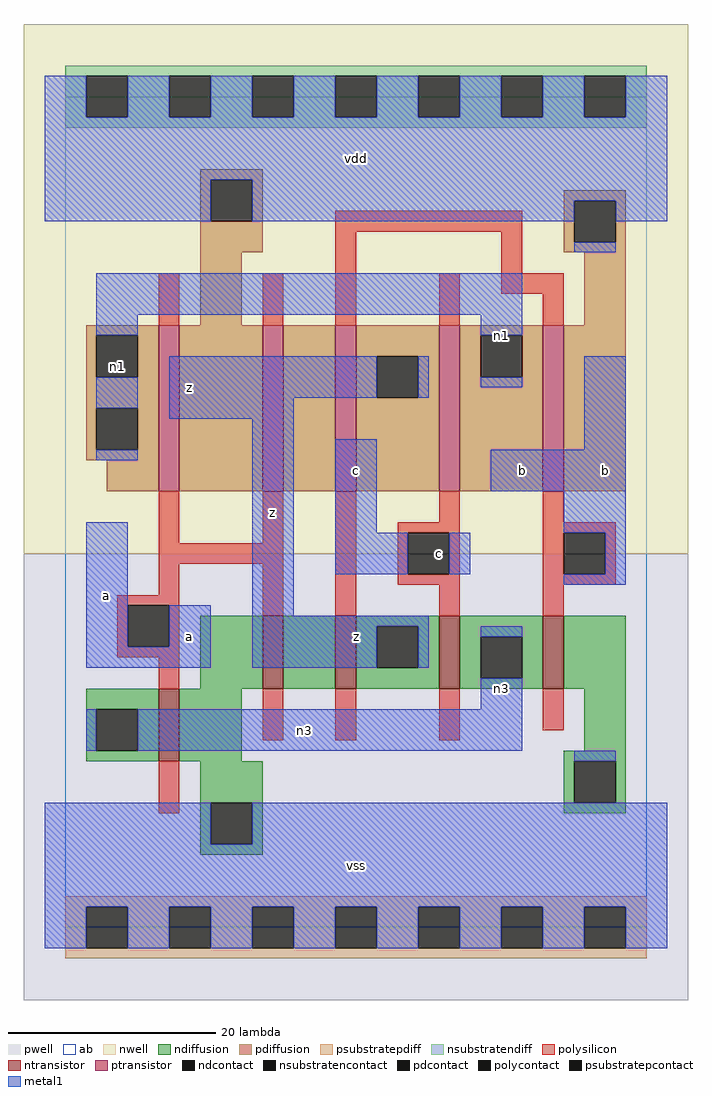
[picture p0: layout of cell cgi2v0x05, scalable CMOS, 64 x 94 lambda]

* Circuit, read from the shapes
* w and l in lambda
.subckt cgi2v0x05 a b c n1 n3 vdd vss z
M1 vss a n3 vss nfet w=7 l=2
M2 n2 a vss vss nfet w=7 l=2
M3 z b n2 vss nfet w=7 l=2
M4 n3 c z vss nfet w=7 l=2
M5 vss b n3 vss nfet w=7 l=2
M6 vdd a n1 vdd pfet w=16 l=2
M7 n4 a vdd vdd pfet w=16 l=2
M8 z b n4 vdd pfet w=16 l=2
M9 n1 c z vdd pfet w=16 l=2
M10 vdd b n1 vdd pfet w=16 l=2
.ends

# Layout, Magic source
magic
tech scmos
<< ab >>
rect 0 0 56 80
<< pwell >>
rect -4 -7 60 36
<< nwell >>
rect -4 36 60 87
<< polysilicon >>
rect 26 67 44 69
rect 9 58 11 63
rect 19 58 21 63
rect 26 58 28 67
rect 42 63 44 67
rect 36 58 38 63
rect 42 61 48 63
rect 46 58 48 61
rect 9 37 11 42
rect 19 37 21 42
rect 9 35 21 37
rect 9 32 11 35
rect 5 31 11 32
rect 5 27 6 31
rect 10 27 11 31
rect 19 30 21 35
rect 26 30 28 42
rect 36 39 38 42
rect 32 38 38 39
rect 32 34 33 38
rect 37 34 38 38
rect 32 33 38 34
rect 36 30 38 33
rect 46 39 48 42
rect 46 38 53 39
rect 46 34 48 38
rect 52 34 53 38
rect 46 33 53 34
rect 46 30 48 33
rect 5 26 11 27
rect 9 23 11 26
rect 19 18 21 23
rect 26 18 28 23
rect 36 18 38 23
rect 46 19 48 23
rect 9 11 11 16
<< ndiffusion >>
rect 13 23 19 30
rect 21 23 26 30
rect 28 29 36 30
rect 28 25 30 29
rect 34 25 36 29
rect 28 23 36 25
rect 38 28 46 30
rect 38 24 40 28
rect 44 24 46 28
rect 38 23 46 24
rect 48 23 54 30
rect 2 21 9 23
rect 2 17 3 21
rect 7 17 9 21
rect 2 16 9 17
rect 11 16 17 23
rect 50 17 54 23
rect 48 16 54 17
rect 13 12 19 16
rect 13 8 14 12
rect 18 8 19 12
rect 48 12 49 16
rect 53 12 54 16
rect 48 11 54 12
rect 13 7 19 8
<< pdiffusion >>
rect 13 72 19 73
rect 13 68 14 72
rect 18 68 19 72
rect 48 70 54 71
rect 13 65 19 68
rect 13 58 17 65
rect 48 66 49 70
rect 53 66 54 70
rect 48 65 54 66
rect 50 58 54 65
rect 2 57 9 58
rect 2 53 3 57
rect 7 53 9 57
rect 2 50 9 53
rect 2 46 3 50
rect 7 46 9 50
rect 2 45 9 46
rect 4 42 9 45
rect 11 42 19 58
rect 21 42 26 58
rect 28 55 36 58
rect 28 51 30 55
rect 34 51 36 55
rect 28 42 36 51
rect 38 57 46 58
rect 38 53 40 57
rect 44 53 46 57
rect 38 42 46 53
rect 48 42 54 58
<< metal1 >>
rect -2 78 2 82
rect 6 78 10 82
rect 14 78 18 82
rect 22 78 26 82
rect 30 78 34 82
rect 38 78 42 82
rect 46 78 50 82
rect 54 78 58 82
rect -2 72 58 78
rect -2 68 14 72
rect 18 70 58 72
rect 18 68 49 70
rect 53 68 58 70
rect 49 65 53 66
rect 3 59 44 63
rect 3 57 7 59
rect 40 57 44 59
rect 3 50 7 53
rect 10 51 30 55
rect 34 51 35 55
rect 40 52 44 53
rect 10 49 22 51
rect 3 45 7 46
rect 2 27 6 39
rect 10 27 14 31
rect 2 25 14 27
rect 18 30 22 49
rect 26 38 30 47
rect 50 46 54 55
rect 41 42 54 46
rect 48 38 54 42
rect 26 34 33 38
rect 37 34 39 38
rect 52 34 54 38
rect 48 33 54 34
rect 18 29 35 30
rect 18 25 30 29
rect 34 25 35 29
rect 40 28 44 29
rect 40 21 44 24
rect 2 17 3 21
rect 7 17 44 21
rect 49 16 53 17
rect -2 8 14 12
rect 18 8 58 12
rect -2 2 58 8
rect -2 -2 2 2
rect 6 -2 10 2
rect 14 -2 18 2
rect 22 -2 26 2
rect 30 -2 34 2
rect 38 -2 42 2
rect 46 -2 50 2
rect 54 -2 58 2
<< ntransistor >>
rect 19 23 21 30
rect 26 23 28 30
rect 36 23 38 30
rect 46 23 48 30
rect 9 16 11 23
<< ptransistor >>
rect 9 42 11 58
rect 19 42 21 58
rect 26 42 28 58
rect 36 42 38 58
rect 46 42 48 58
<< polycontact >>
rect 6 27 10 31
rect 33 34 37 38
rect 48 34 52 38
<< ndcontact >>
rect 30 25 34 29
rect 40 24 44 28
rect 3 17 7 21
rect 14 8 18 12
rect 49 12 53 16
<< pdcontact >>
rect 14 68 18 72
rect 49 66 53 70
rect 3 53 7 57
rect 3 46 7 50
rect 30 51 34 55
rect 40 53 44 57
<< psubstratepcontact >>
rect 2 -2 6 2
rect 10 -2 14 2
rect 18 -2 22 2
rect 26 -2 30 2
rect 34 -2 38 2
rect 42 -2 46 2
rect 50 -2 54 2
<< nsubstratencontact >>
rect 2 78 6 82
rect 10 78 14 82
rect 18 78 22 82
rect 26 78 30 82
rect 34 78 38 82
rect 42 78 46 82
rect 50 78 54 82
<< psubstratepdiff >>
rect 0 2 56 3
rect 0 -2 2 2
rect 6 -2 10 2
rect 14 -2 18 2
rect 22 -2 26 2
rect 30 -2 34 2
rect 38 -2 42 2
rect 46 -2 50 2
rect 54 -2 56 2
rect 0 -3 56 -2
<< nsubstratendiff >>
rect 0 82 56 83
rect 0 78 2 82
rect 6 78 10 82
rect 14 78 18 82
rect 22 78 26 82
rect 30 78 34 82
rect 38 78 42 82
rect 46 78 50 82
rect 54 78 56 82
rect 0 77 56 78
<< labels >>
rlabel metal1 4 32 4 32 6 a
rlabel pdcontact 5 54 5 54 6 n1
rlabel metal1 12 28 12 28 6 a
rlabel metal1 12 52 12 52 6 z
rlabel metal1 28 6 28 6 6 vss
rlabel metal1 28 28 28 28 6 z
rlabel metal1 20 40 20 40 6 z
rlabel metal1 28 44 28 44 6 c
rlabel metal1 28 74 28 74 6 vdd
rlabel metal1 23 19 23 19 6 n3
rlabel metal1 42 23 42 23 6 n3
rlabel polycontact 36 36 36 36 6 c
rlabel metal1 44 44 44 44 6 b
rlabel metal1 42 57 42 57 6 n1
rlabel metal1 52 44 52 44 6 b
<< end >>
